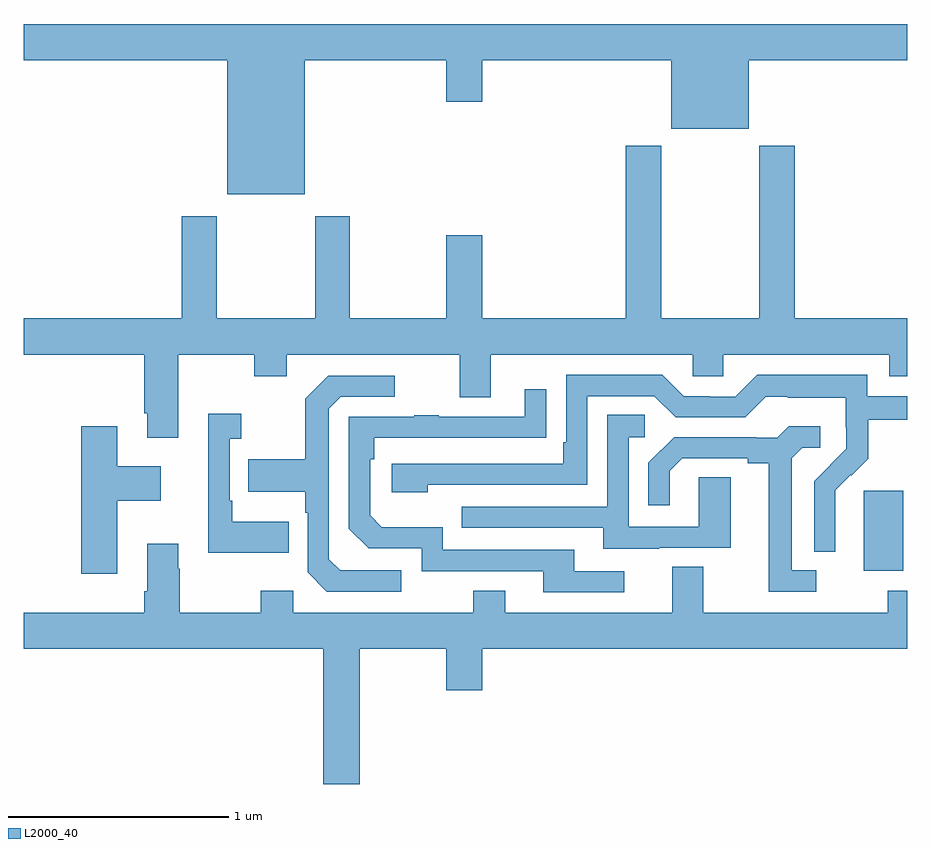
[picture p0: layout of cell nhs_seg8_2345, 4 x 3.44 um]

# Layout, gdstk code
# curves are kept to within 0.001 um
import gdstk
lib = gdstk.Library(unit=1e-6, precision=1e-09)
def R(c, l, rs):  # rectangles x0, y0, x1, y1
    for r in rs: c.add(gdstk.rectangle(r[:2], r[2:], *l))
def P(c, l, *ps):  # polygons
    for p in ps: c.add(gdstk.Polygon(p, *l))
L2000_40 = (2000, 40)

nhs_seg8_2345 = lib.new_cell('nhs_seg8_2345')
R(nhs_seg8_2345, L2000_40, [(262.802,1104.866,262.981,1105.227)])
P(nhs_seg8_2345, L2000_40, [(260.272,1107.176),(260.912,1107.176),(260.912,1106.988),(261.076,1106.988),(261.076,1107.176),(261.932,1107.176),(261.932,1106.867),(262.282,1106.867),(262.282,1107.176),(263,1107.176),(263,1107.34),(259,1107.34),(259,1107.176),(259.922,1107.176),(259.922,1106.57),(260.272,1106.57)],
  [(259.699,1105.844),(260.044,1105.844),(260.044,1105.745),(260.191,1105.745),(260.191,1105.844),(260.975,1105.844),(260.975,1105.65),(261.115,1105.65),(261.115,1105.844),(262.029,1105.844),(262.029,1105.746),(262.167,1105.746),(262.167,1105.844),(262.919,1105.844),(262.919,1105.745),(263,1105.745),(263,1106.008),(262.49,1106.008),(262.49,1106.788),(262.33,1106.788),(262.33,1106.008),(261.885,1106.008),(261.885,1106.788),(261.725,1106.788),(261.725,1106.008),(261.076,1106.008),(261.076,1106.383),(260.912,1106.383),(260.912,1106.008),(260.475,1106.008),(260.475,1106.47),(260.32,1106.47),(260.32,1106.008),(259.875,1106.008),(259.875,1106.47),(259.715,1106.47),(259.715,1106.008),(259,1106.008),(259,1105.844),(259.547,1105.844),(259.547,1105.579),(259.559,1105.579),(259.559,1105.467),(259.699,1105.467)],
  [(262.674,1105.106),(262.673,1105.229),(262.743,1105.299),(262.746,1105.296),(262.823,1105.373),(262.823,1105.548),(263,1105.548),(263,1105.656),(262.818,1105.656),(262.818,1105.753),(262.321,1105.753),(262.221,1105.653),(262.106,1105.653),(262.106,1105.656),(261.987,1105.656),(261.891,1105.752),(261.456,1105.752),(261.456,1105.447),(261.443,1105.447),(261.443,1105.35),(260.666,1105.35),(260.666,1105.22),(260.828,1105.22),(260.828,1105.254),(261.552,1105.254),(261.552,1105.656),(261.855,1105.656),(261.951,1105.56),(262.266,1105.56),(262.359,1105.653),(262.459,1105.653),(262.459,1105.649),(262.722,1105.649),(262.722,1105.515),(262.724,1105.515),(262.724,1105.418),(262.578,1105.27),(262.578,1104.952),(262.674,1104.952)],
  [(260.71,1104.867),(260.433,1104.867),(260.382,1104.918),(260.382,1105.599),(260.436,1105.653),(260.68,1105.653),(260.68,1105.749),(260.379,1105.749),(260.274,1105.643),(260.274,1105.371),(260.017,1105.371),(260.017,1105.223),(260.274,1105.223),(260.274,1105.127),(260.286,1105.127),(260.286,1104.858),(260.373,1104.771),(260.71,1104.771)],
  [(261.718,1104.864),(261.493,1104.864),(261.493,1104.96),(260.898,1104.96),(260.898,1105.063),(260.621,1105.063),(260.568,1105.116),(260.568,1105.37),(260.588,1105.37),(260.588,1105.467),(261.365,1105.468),(261.365,1105.687),(261.269,1105.687),(261.269,1105.563),(260.879,1105.563),(260.879,1105.568),(260.767,1105.568),(260.767,1105.563),(260.472,1105.563),(260.472,1105.056),(260.562,1104.966),(260.802,1104.966),(260.802,1104.864),(261.353,1104.864),(261.353,1104.768),(261.718,1104.768)],
  [(260.201,1105.087),(259.945,1105.087),(259.945,1105.183),(259.932,1105.183),(259.932,1105.463),(259.984,1105.463),(259.984,1105.576),(259.835,1105.576),(259.835,1104.947),(260.201,1104.947)],
  [(261.877,1104.969),(262.201,1104.969),(262.201,1105.289),(262.056,1105.289),(262.056,1105.065),(261.738,1105.065),(261.738,1105.47),(261.811,1105.47),(261.811,1105.571),(261.642,1105.571),(261.642,1105.155),(260.983,1105.155),(260.983,1105.059),(261.623,1105.059),(261.623,1104.965),(261.877,1104.965)],
  [(262.588,1104.867),(262.477,1104.867),(262.477,1105.375),(262.524,1105.422),(262.606,1105.422),(262.606,1105.519),(262.462,1105.519),(262.41,1105.467),(262.316,1105.467),(262.316,1105.47),(261.944,1105.47),(261.828,1105.354),(261.828,1105.161),(261.925,1105.161),(261.925,1105.317),(261.982,1105.374),(262.277,1105.374),(262.277,1105.352),(262.373,1105.352),(262.373,1104.771),(262.588,1104.771)],
  [(259.423,1105.181),(259.621,1105.181),(259.621,1105.339),(259.423,1105.339),(259.423,1105.519),(259.261,1105.519),(259.261,1104.852),(259.423,1104.852)],
  [(260.521,1104.512),(260.912,1104.512),(260.912,1104.324),(261.076,1104.324),(261.076,1104.512),(263,1104.512),(263,1104.775),(262.912,1104.775),(262.912,1104.676),(262.075,1104.676),(262.075,1104.884),(261.935,1104.884),(261.935,1104.676),(261.181,1104.676),(261.181,1104.775),(261.034,1104.775),(261.034,1104.676),(260.22,1104.676),(260.22,1104.775),(260.074,1104.775),(260.074,1104.676),(259.707,1104.676),(259.707,1104.875),(259.699,1104.875),(259.699,1104.988),(259.559,1104.988),(259.559,1104.772),(259.547,1104.772),(259.547,1104.676),(259,1104.676),(259,1104.512),(260.357,1104.512),(260.357,1103.9),(260.521,1103.9)])

lib.write_gds('nhs_seg8_2345.gds')
